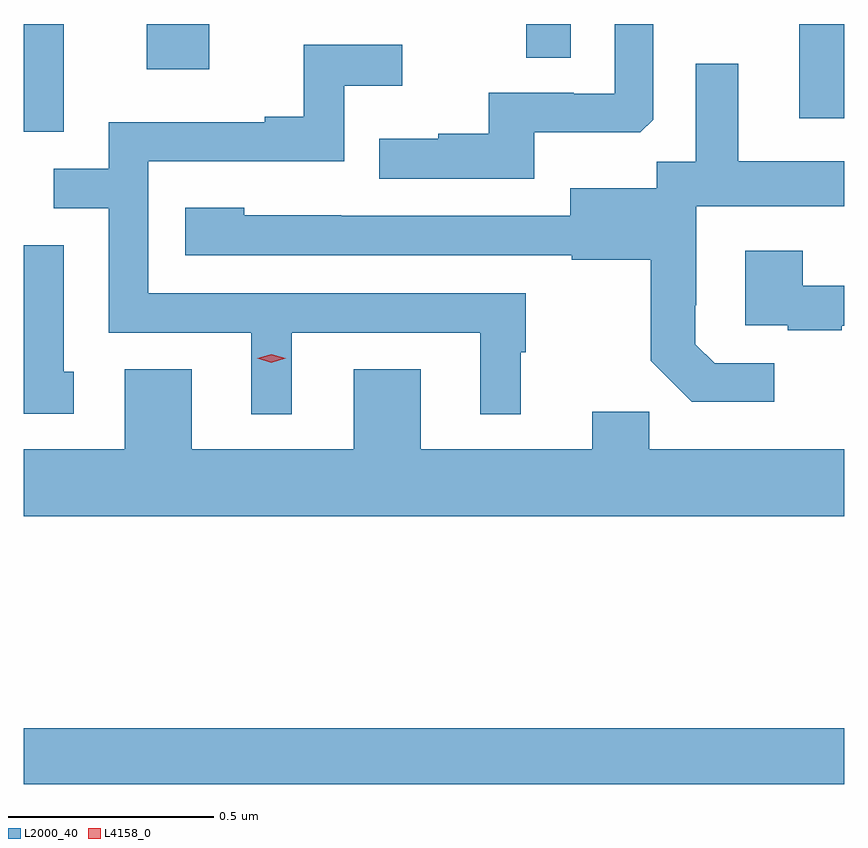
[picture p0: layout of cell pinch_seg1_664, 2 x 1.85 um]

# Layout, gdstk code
import gdstk
lib = gdstk.Library(unit=1e-6, precision=1e-09)
def R(c, l, rs):  # rectangles x0, y0, x1, y1
    for r in rs: c.add(gdstk.rectangle(r[:2], r[2:], *l))
def P(c, l, *ps):  # polygons
    for p in ps: c.add(gdstk.Polygon(p, *l))
L2000_40 = (2000, 40)
L4158_0 = (4158, 0)

pinch_seg1_664 = lib.new_cell('pinch_seg1_664')
R(pinch_seg1_664, L2000_40, [(772.727,577.72,774.727,577.856), (772.727,579.309,772.825,579.572), (774.617,579.342,774.727,579.572), (773.027,579.462,773.179,579.572), (773.952,579.49,774.06,579.572)])
P(pinch_seg1_664, L2000_40, [(773.971,579.308),(774.229,579.308),(774.261,579.339),(774.261,579.572),(774.168,579.572),(774.168,579.402),(774.068,579.402),(774.068,579.405),(773.861,579.405),(773.861,579.304),(773.737,579.304),(773.737,579.292),(773.593,579.292),(773.593,579.195),(773.971,579.195)],
  [(773.38,578.82),(773.84,578.82),(773.84,578.621),(773.938,578.621),(773.938,578.772),(773.95,578.772),(773.95,578.916),(773.031,578.916),(773.031,579.237),(773.508,579.237),(773.508,579.422),(773.65,579.422),(773.65,579.521),(773.41,579.521),(773.41,579.346),(773.315,579.346),(773.315,579.333),(772.935,579.333),(772.935,579.219),(772.801,579.219),(772.801,579.123),(772.935,579.123),(772.935,578.82),(773.282,578.82),(773.282,578.621),(773.38,578.621)],
  [(774.556,578.745),(774.411,578.745),(774.364,578.792),(774.364,578.887),(774.366,578.887),(774.366,579.128),(774.727,579.128),(774.727,579.238),(774.469,579.238),(774.469,579.475),(774.365,579.475),(774.365,579.236),(774.27,579.236),(774.27,579.172),(774.059,579.172),(774.059,579.105),(773.501,579.105),(773.501,579.106),(773.265,579.106),(773.265,579.124),(773.121,579.124),(773.121,579.009),(774.063,579.009),(774.063,578.997),(774.255,578.997),(774.255,578.751),(774.355,578.651),(774.556,578.651)],
  [(772.849,578.724),(772.825,578.724),(772.825,579.033),(772.727,579.033),(772.727,578.622),(772.849,578.622)],
  [(774.721,578.837),(774.727,578.837),(774.727,578.934),(774.625,578.934),(774.625,579.019),(774.485,579.019),(774.485,578.838),(774.589,578.838),(774.589,578.826),(774.721,578.826)],
  [(774.727,578.536),(774.251,578.536),(774.251,578.627),(774.113,578.627),(774.113,578.536),(773.695,578.536),(773.695,578.731),(773.531,578.731),(773.531,578.536),(773.137,578.536),(773.137,578.731),(772.973,578.731),(772.973,578.536),(772.727,578.536),(772.727,578.372),(774.727,578.372)])
P(pinch_seg1_664, L4158_0, [(773.331,578.747),(773.296,578.757),(773.295,578.757),(773.296,578.758),(773.331,578.767),(773.366,578.758),(773.366,578.757),(773.366,578.757)])

lib.write_gds('pinch_seg1_664.gds')
